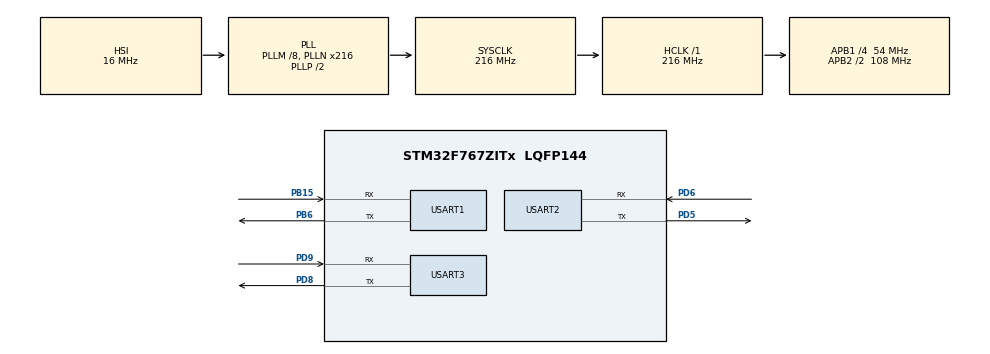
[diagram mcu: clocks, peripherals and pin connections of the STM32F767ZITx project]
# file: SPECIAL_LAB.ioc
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Mcu.Family=STM32F7
Mcu.Name=STM32F767ZITx
Mcu.Package=LQFP144
NVIC.PriorityGroup=NVIC_PRIORITYGROUP_4
NVIC.USART1_IRQn=true\:0\:0\:false\:false\:true\:true\:true\:true
NVIC.USART2_IRQn=true\:0\:0\:false\:false\:true\:true\:true\:true
NVIC.USART3_IRQn=true\:0\:0\:true\:false\:true\:true\:true\:true
PB15.Mode=Asynchronous
PB15.Signal=USART1_RX
PB6.Mode=Asynchronous
PB6.Signal=USART1_TX
PD5.Mode=Asynchronous
PD5.Signal=USART2_TX
PD6.Mode=Asynchronous
PD6.Signal=USART2_RX
PD8.Mode=Asynchronous
PD8.Signal=USART3_TX
PD9.Mode=Asynchronous
PD9.Signal=USART3_RX
ProjectManager.HeapSize=0x200
ProjectManager.StackSize=0x400
ProjectManager.TargetToolchain=STM32CubeIDE
RCC.AHBFreq_Value=216000000
RCC.APB1CLKDivider=RCC_HCLK_DIV4
RCC.APB1Freq_Value=54000000
RCC.APB1TimFreq_Value=108000000
RCC.APB2CLKDivider=RCC_HCLK_DIV2
RCC.APB2Freq_Value=108000000
RCC.APB2TimFreq_Value=216000000
RCC.CortexFreq_Value=216000000
RCC.HCLKFreq_Value=216000000
RCC.HSE_VALUE=25000000
RCC.HSI_VALUE=16000000
RCC.LSE_VALUE=32768
RCC.PLLM=8
RCC.PLLN=216
RCC.SYSCLKFreq_VALUE=216000000
RCC.SYSCLKSource=RCC_SYSCLKSOURCE_PLLCLK
RCC.USBFreq_Value=216000000
RCC.VCOOutputFreq_Value=432000000
USART1.VirtualMode-Asynchronous=VM_ASYNC
USART2.VirtualMode-Asynchronous=VM_ASYNC
USART3.VirtualMode-Asynchronous=VM_ASYNC
board=custom

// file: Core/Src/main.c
/* USER CODE BEGIN Header */
/**
 ******************************************************************************
 * @file           : main.c
 * @brief          : Main program body
 ******************************************************************************
 * @attention
 *
 * Copyright (c) 2023 STMicroelectronics.
 * All rights reserved.
 *
 * This software is licensed under terms that can be found in the LICENSE file
 * in the root directory of this software component.
 * If no LICENSE file comes with this software, it is provided AS-IS.
 *
 ******************************************************************************
 */
/* USER CODE END Header */
#include "main.h"
#include "usart.h"
#include "gpio.h"

/* USER CODE BEGIN Includes */
#include"stdbool.h"
#include"string.h"
/* USER CODE END Includes */

/* USER CODE BEGIN PV */

char text[] = "Man from U.A.R.T.1!\r\nQuit PRESS q\r\n";

char ready[] = "	Name : ";

char otherReady[] = "\r\n is ready";

bool textSent = false;

char mymyText[] = "=>";

char myName[100];

char yourName[100];

char myotherText[] = ": ";

char otherText[] = "	Mr.One =>";

char recieveText[100];
char recieveText2[100];
char inputBuffer[100];

char rc;

bool receivingData = false;

bool sendingData = false;

bool nameInput = true;

char nameTemp[100];

char waitingFor[] = "	Waiting For Mr.One";

/* USER CODE END PV */

void SystemClock_Config(void);

int main(void)
{

  /* MCU Configuration--------------------------------------------------------*/

  /* Reset of all peripherals, Initializes the Flash interface and the Systick. *  HAL_Init();

  /* Configure the system clock */
  SystemClock_Config();

  /* Initialize all configured peripherals */
  MX_GPIO_Init();
  MX_USART1_UART_Init();
  MX_USART3_UART_Init();
  MX_USART2_UART_Init();
  /* USER CODE BEGIN 2 */
	HAL_UART_Transmit(&huart3, (uint8_t*) text, sizeof(text), 100);
	HAL_UART_Transmit(&huart3, (uint8_t*) ready, strlen(ready), 1000);

	HAL_UART_Receive_IT(&huart3, (uint8_t*) &rc, 1);
  /* USER CODE END 2 */

  /* Infinite loop */
  /* USER CODE BEGIN WHILE */

//  void ProcessInputData(void)
//    {
//      if (__HAL_UART_GET_FLAG(&huart3, UART_FLAG_RXNE) == SET)
//      {
//        uint8_t receivedChar;
//
//        HAL_UART_Receive(&huart3, &receivedChar, 1, 1000);
//
//        if (receivedChar == '\r')
//        {
//
//          inputBuffer[strlen(inputBuffer)] = '\r';
//          nameTemp[strlen(nameTemp)] = '\r';
//
//          HAL_UART_Transmit(&huart1, (uint8_t *)inputBuffer, strlen(inputBuffer), 1000);
//          HAL_UART_Transmit(&huart3, (uint8_t *)"\r\n", strlen("\r\n"), 1000);
//          ongoing = false;
//          HAL_Delay(500);
//          ongoing = true;
//
////          if(HAL_UART_Transmit(&huart1, (uint8_t *)inputBuffer, strlen(inputBuffer), 1000) == HAL_OK)
////          {
////            HAL_UART_Transmit(&huart3, (uint8_t *)otherText, strlen(otherText), 1000);
////            HAL_UART_Transmit(&huart3, (uint8_t *)recieveText, strlen(recieveText), 1000);
////            HAL_UART_Transmit(&huart3, (uint8_t *)"\r\n", strlen("\r\n"), 1000);
////            receivingData = true;
////          }
////          if(HAL_UART_Transmit(&huart1, (uint8_t *)inputBuffer, strlen(inputBuffer), 1000) == HAL_OK && sendingData == false){
//////        	  HAL_UART_Transmit(&huart2, (uint8_t *)otherText, strlen(otherText), 1000);
//////        	  HAL_UART_Transmit(&huart2, (uint8_t *)inputBuffer, strlen(inputBuffer), 1000);
////        	  //HAL_UART_Transmit(&huart3, (uint8_t *)inputBuffer, strlen(inputBuffer), 1000);
////        	  receivingData = true;
////          }
////          if(HAL_UART_Receive(&huart2, (uint8_t *)recieveText, strlen(recieveText), 1000) == HAL_OK && receivingData == true){
////        	  HAL_UART_Transmit(&huart3, (uint8_t *)recieveText, strlen(recieveText), 1000);
////        	  sendingData = true;
////        	  receivingData = false;
////          }
//
//          memset(inputBuffer, 0, sizeof(inputBuffer));
//
//        }
//
//        else if (receivedChar == 0x08)
//        {
//
//          if (strlen(inputBuffer) > 0)
//          {
//        	 inputBuffer[strlen(inputBuffer) - 1] = '\0';
//        	 HAL_UART_Transmit(&huart3, (uint8_t *)"\b \b", 3, 1000);
//          }
//
//        }
//
//        else
//        {
//          HAL_UART_Transmit(&huart3, &receivedChar, 1, 1000);
//          inputBuffer[strlen(inputBuffer)] = receivedChar;
//        }
//      }
//    }
//
//
//  void NameInputData(void)
//      {
//        if (__HAL_UART_GET_FLAG(&huart3, UART_FLAG_RXNE) == SET)
//        {
//          uint8_t receivedCharName;
//
//          HAL_UART_Receive(&huart3, &receivedCharName, 1, 1000);
//
//          if (receivedCharName == '\r')
//          {
//        	textSent = true;
//        	nameInput = false;
//        	strcpy(nameTemp,myName);
//        	strcat(nameTemp," is Ready!!!\r");
//        	HAL_UART_Transmit(&huart1, (uint8_t *)nameTemp, sizeof(nameTemp), 1000);
//        	strcpy(nameTemp,myName);
//        	memset(myName, 0, sizeof(myName));
//          }
//
//          else if (receivedCharName == 0x08)
//          {
//
//            if (strlen(myName) > 0)
//            {
//             myName[strlen(myName) - 1] = '\0';
//          	 HAL_UART_Transmit(&huart3, (uint8_t *)"\b \b", 3, 1000);
//            }
//
//          }
//
//          else
//          {
//            HAL_UART_Transmit(&huart3, &receivedCharName, 1, 1000);
//            myName[strlen(myName)] = receivedCharName;
//          }
//        }
//      }
	while (1) {
    /* USER CODE END WHILE */

	}
}

void SystemClock_Config(void)
{
  RCC_OscInitTypeDef RCC_OscInitStruct = {0};
  RCC_ClkInitTypeDef RCC_ClkInitStruct = {0};

  /** Configure the main internal regulator output voltage
  */
  __HAL_RCC_PWR_CLK_ENABLE();
  __HAL_PWR_VOLTAGESCALING_CONFIG(PWR_REGULATOR_VOLTAGE_SCALE1);

  /** Initializes the RCC Oscillators according to the specified parameters
  * in the RCC_OscInitTypeDef structure.
  */
  RCC_OscInitStruct.OscillatorType = RCC_OSCILLATORTYPE_HSI;
  RCC_OscInitStruct.HSIState = RCC_HSI_ON;
  RCC_OscInitStruct.HSICalibrationValue = RCC_HSICALIBRATION_DEFAULT;
  RCC_OscInitStruct.PLL.PLLState = RCC_PLL_ON;
  RCC_OscInitStruct.PLL.PLLSource = RCC_PLLSOURCE_HSI;
  RCC_OscInitStruct.PLL.PLLM = 8;
  RCC_OscInitStruct.PLL.PLLN = 216;
  RCC_OscInitStruct.PLL.PLLP = RCC_PLLP_DIV2;
  RCC_OscInitStruct.PLL.PLLQ = 2;
  RCC_OscInitStruct.PLL.PLLR = 2;
  if (HAL_RCC_OscConfig(&RCC_OscInitStruct) != HAL_OK)
  {
    Error_Handler();
  }

  /** Activate the Over-Drive mode
  */
  if (HAL_PWREx_EnableOverDrive() != HAL_OK)
  {
    Error_Handler();
  }

  /** Initializes the CPU, AHB and APB buses clocks
  */
  RCC_ClkInitStruct.ClockType = RCC_CLOCKTYPE_HCLK|RCC_CLOCKTYPE_SYSCLK
                              |RCC_CLOCKTYPE_PCLK1|RCC_CLOCKTYPE_PCLK2;
  RCC_ClkInitStruct.SYSCLKSource = RCC_SYSCLKSOURCE_PLLCLK;
  RCC_ClkInitStruct.AHBCLKDivider = RCC_SYSCLK_DIV1;
  RCC_ClkInitStruct.APB1CLKDivider = RCC_HCLK_DIV4;
  RCC_ClkInitStruct.APB2CLKDivider = RCC_HCLK_DIV2;

  if (HAL_RCC_ClockConfig(&RCC_ClkInitStruct, FLASH_LATENCY_7) != HAL_OK)
  {
    Error_Handler();
  }
}

/* USER CODE BEGIN 4 */
void HAL_UART_RxCpltCallback(UART_HandleTypeDef *huart) {

	if (huart == &huart3 && nameInput == true) {
		if (rc == '\r') {
			nameInput = false;
			strcpy(nameTemp, myName);
			strcat(nameTemp, "\r");
			HAL_UART_Transmit(&huart1, (uint8_t*) nameTemp, sizeof(nameTemp),
					1000);
			strcpy(nameTemp, myName);
			memset(myName, 0, sizeof(myName));
			if(strcmp(nameTemp,"q")==0){
				HAL_UART_Transmit(&huart3, (uint8_t*) "\r\nQuit Already",sizeof("\r\nQuit Already"), 1000);
				return 0;
			}
			HAL_UART_Receive_IT(&huart1, (uint8_t*) &rc, 1);
			rc = '\0';

		}

		else if (rc == 0x08) {

			if (strlen(myName) >= 0) {
				HAL_UART_Receive_IT(&huart3, (uint8_t*) &rc, 1);
				myName[strlen(myName) - 1] = '\0';
				HAL_UART_Transmit(&huart3, (uint8_t*) "\b \b", 3, 1000);
			}

		}

		else {
			HAL_UART_Receive_IT(&huart3, (uint8_t*) &rc, 1);
			myName[strlen(myName)] = rc;
			HAL_UART_Transmit(&huart3, (uint8_t*) &rc, 1, 1000);
		}
	}

	if (huart == &huart3 && !nameInput) {
		if (rc == '\r') {
			if(strcmp(inputBuffer,"q")==0){
										HAL_UART_Transmit(&huart1, (uint8_t*) "q",1, 1000);
										HAL_UART_Transmit(&huart3, (uint8_t*) "\r\nQuit Already",sizeof("\r\nQuit Already"), 1000);

									}
			inputBuffer[strlen(inputBuffer)] = '\r';

			HAL_UART_Transmit(&huart1, (uint8_t*)&inputBuffer,strlen(&inputBuffer), 1000);
			HAL_UART_Transmit(&huart3, (uint8_t*) "\r\n", strlen("\r\n"), 1000);
			//receivingData = true;
			memset(inputBuffer, 0, sizeof(inputBuffer));
			rc = '\0';
			HAL_UART_Receive_IT(&huart1, (uint8_t*) &rc, 1);
		}

		else if (rc == 0x08) {
			if (strlen(inputBuffer) >= 0) {
				HAL_UART_Receive_IT(&huart3, (uint8_t*) &rc, 1);
				inputBuffer[strlen(inputBuffer) - 1] = '\0';
				HAL_UART_Transmit(&huart3, (uint8_t*) "\b \b", 3, 1000);
			}

		}

		else {
			HAL_UART_Transmit(&huart3, (uint8_t*) &rc, 1, 1000);
			inputBuffer[strlen(inputBuffer)] = rc;
			HAL_UART_Receive_IT(&huart3, (uint8_t*) &rc, 1);
		}
	}
	if (huart == &huart1) {
		if (strlen(yourName) == 0) {
			if (rc == '\r') {
				strcpy(yourName, recieveText);
				memset(recieveText, '\0', sizeof(recieveText));
				if(strcmp(yourName,"q")==0){
					HAL_UART_Transmit(&huart3, (uint8_t*) "\r\n already quit",sizeof("\r\n already quit"), HAL_MAX_DELAY);
					return 0;
				}
				HAL_UART_Transmit(&huart3, (uint8_t*) "\r\n        ",
						strlen("\r\n        "), HAL_MAX_DELAY);
				HAL_UART_Transmit(&huart3, (uint8_t*) yourName,
						strlen(yourName), HAL_MAX_DELAY);
				HAL_UART_Transmit(&huart3, (uint8_t*) " is ready!!!",
						sizeof(" is ready!!!"), HAL_MAX_DELAY);
				strcat(yourName, " : ");
				rc = '\0';
				HAL_UART_Transmit(&huart3, (uint8_t*) "\r", strlen("\r"), 1000);
				HAL_UART_Transmit(&huart3, (uint8_t*)"\n",strlen("\n"), HAL_MAX_DELAY);
				HAL_UART_Transmit(&huart3, (uint8_t*) "        ",strlen("        "), HAL_MAX_DELAY);
				HAL_UART_Transmit(&huart3, (uint8_t*) nameTemp,strlen(nameTemp), HAL_MAX_DELAY);
				HAL_UART_Transmit(&huart3, (uint8_t*) mymyText,strlen(mymyText), HAL_MAX_DELAY);
				HAL_UART_Receive_IT(&huart3, (uint8_t*) &rc, 1);
			} else {
				recieveText[strlen(recieveText)] = rc;
				HAL_UART_Receive_IT(&huart1, (uint8_t*) &rc, 1);
			}
		} else if (strlen(yourName) != 0) {
			if (rc == '\r') {
				strcpy(recieveText2, recieveText);
				memset(recieveText, '\0', sizeof(recieveText));
				if (strcmp(recieveText2,"6q")==0) {
				        HAL_UART_Transmit(&huart3, (uint8_t*) "already quit", sizeof("already quit"), HAL_MAX_DELAY);
				        return 0;
				    }
				HAL_UART_Transmit(&huart3, (uint8_t*) "\r\n", sizeof("\r\n"),HAL_MAX_DELAY);
				HAL_UART_Transmit(&huart3, (uint8_t*) "        ",strlen("        "), HAL_MAX_DELAY);
				HAL_UART_Transmit(&huart3, (uint8_t*) yourName,strlen(yourName), HAL_MAX_DELAY);
				HAL_UART_Transmit(&huart3, (uint8_t*) recieveText2,strlen(recieveText2), HAL_MAX_DELAY);
				memset(recieveText2, '\0', sizeof(recieveText2));
				rc = '\0';
				HAL_UART_Transmit(&huart3, (uint8_t*) "\r", strlen("\r"), 1000);
				HAL_UART_Transmit(&huart3, (uint8_t*)"\n",strlen("\n"), HAL_MAX_DELAY);
				HAL_UART_Transmit(&huart3, (uint8_t*) "        ",strlen("        "), HAL_MAX_DELAY);
				HAL_UART_Transmit(&huart3, (uint8_t*) nameTemp,strlen(nameTemp), HAL_MAX_DELAY);
				HAL_UART_Transmit(&huart3, (uint8_t*) mymyText,strlen(mymyText), HAL_MAX_DELAY);

				HAL_UART_Receive_IT(&huart3, (uint8_t*) &rc, 1);

			}

			else {
				recieveText[strlen(recieveText)] = rc;
				HAL_UART_Receive_IT(&huart1, (uint8_t*) &rc, 1);
			}
		}
	}
}

/* USER CODE END 4 */

void Error_Handler(void)
{
	__disable_irq();
	while (1) {
	}
}
